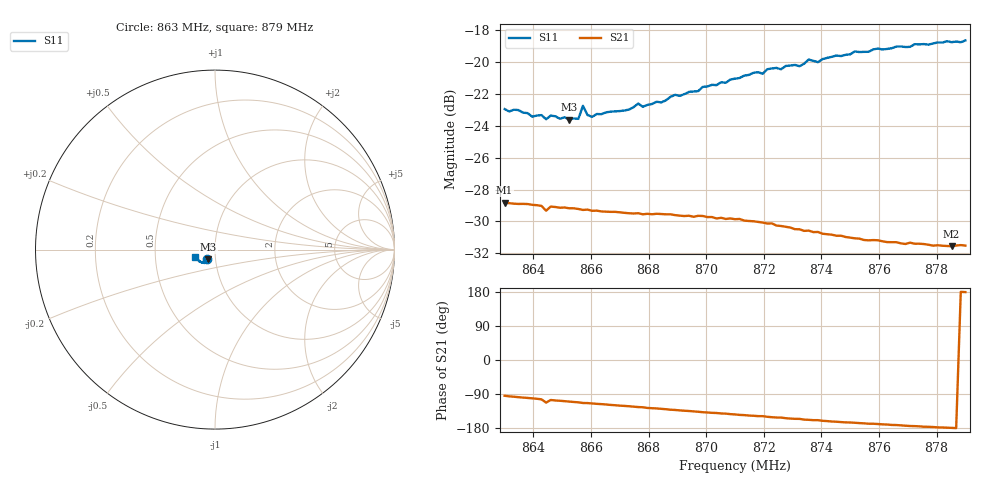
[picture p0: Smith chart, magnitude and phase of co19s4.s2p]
# HZ S RI R 50
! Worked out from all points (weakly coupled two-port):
!   101 points, 863 MHz to 879 MHz, reference 50 ohm
!   highest |S21| = -28.83 dB at 863 MHz (marker M1); lowest = -31.5 dB at 878.52 MHz (marker M2)
!   lowest |S11| = -23.6 dB at 865.24 MHz (marker M3), VSWR 1.14, Z = 46.2 - j5.08 ohm
!   |S11| at or under -10 dB: start of sweep to end of sweep
!   S12 and S22 are empty: the file has one direction only
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8.63e8  -0.0457 -0.0544  -0.00276 -0.0361  0 0  0 0
8.6348e8  -0.0442 -0.055  -0.00508 -0.0355  0 0  0 0
8.6396e8  -0.0412 -0.0532  -0.00695 -0.035  0 0  0 0
8.6428e8  -0.0395 -0.0554  -0.00844 -0.0344  0 0  0 0
8.6444e8  -0.0396 -0.0529  -0.0131 -0.0316  0 0  0 0
8.646e8  -0.0396 -0.055  -0.00946 -0.0339  0 0  0 0
8.6524e8  -0.0367 -0.0547  -0.0117 -0.0328  0 0  0 0
8.6556e8  -0.0362 -0.0554  -0.0128 -0.0322  0 0  0 0
8.6572e8  -0.0432 -0.0585  -0.0137 -0.0315  0 0  0 0
8.6588e8  -0.0367 -0.0573  -0.0138 -0.0316  0 0  0 0
8.6604e8  -0.0354 -0.0571  -0.0142 -0.031  0 0  0 0
8.6732e8  -0.0356 -0.0612  -0.0178 -0.0284  0 0  0 0
8.6764e8  -0.0372 -0.0639  -0.0189 -0.0278  0 0  0 0
8.678e8  -0.0364 -0.0624  -0.0189 -0.0274  0 0  0 0
8.6844e8  -0.0371 -0.0646  -0.0209 -0.026  0 0  0 0
8.6892e8  -0.0396 -0.0681  -0.0221 -0.0247  0 0  0 0
8.71e8  -0.0495 -0.0732  -0.0259 -0.0191  0 0  0 0
8.7372e8  -0.0685 -0.0737  -0.0273 -0.0106  0 0  0 0
8.7516e8  -0.0831 -0.0684  -0.0271 -0.00695  0 0  0 0
8.7644e8  -0.0921 -0.0603  -0.0269 -0.00409  0 0  0 0
8.7852e8  -0.1064 -0.0437  -0.0265 -0.000418  0 0  0 0
8.79e8  -0.1098 -0.0387  -0.0266 0.000364  0 0  0 0
